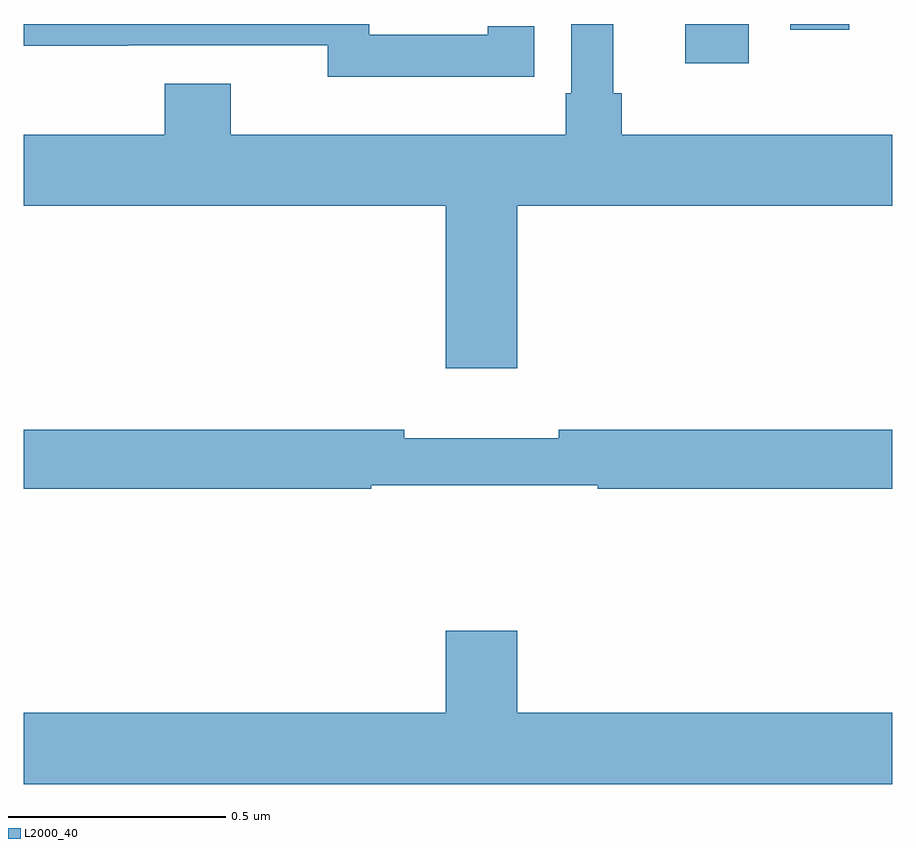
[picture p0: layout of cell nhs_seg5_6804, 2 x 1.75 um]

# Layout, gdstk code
import gdstk
lib = gdstk.Library(unit=1e-6, precision=1e-09)
def R(c, l, rs):  # rectangles x0, y0, x1, y1
    for r in rs: c.add(gdstk.rectangle(r[:2], r[2:], *l))
def P(c, l, *ps):  # polygons
    for p in ps: c.add(gdstk.Polygon(p, *l))
L2000_40 = (2000, 40)

nhs_seg5_6804 = lib.new_cell('nhs_seg5_6804')
R(nhs_seg5_6804, L2000_40, [(201.524,903.708,201.67,903.799), (201.765,903.786,201.901,903.799)])
P(nhs_seg5_6804, L2000_40, [(201.136,903.38),(202,903.38),(202,903.544),(201.377,903.544),(201.377,903.64),(201.358,903.64),(201.358,903.799),(201.261,903.799),(201.261,903.64),(201.248,903.64),(201.248,903.544),(200.476,903.544),(200.476,903.661),(200.324,903.661),(200.324,903.544),(200,903.544),(200,903.38),(200.972,903.38),(200.972,903.006),(201.136,903.006)],
  [(201.068,903.678),(201.176,903.678),(201.176,903.794),(201.068,903.794),(201.068,903.774),(200.796,903.774),(200.796,903.799),(200,903.799),(200,903.749),(200.24,903.749),(200.24,903.75),(200.7,903.75),(200.7,903.677),(201.068,903.677)],
  [(200.8,902.736),(201.322,902.736),(201.322,902.728),(202,902.728),(202,902.864),(201.232,902.864),(201.232,902.845),(200.876,902.845),(200.876,902.864),(200,902.864),(200,902.728),(200.8,902.728)],
  [(202,902.212),(201.136,902.212),(201.136,902.401),(200.972,902.401),(200.972,902.212),(200,902.212),(200,902.048),(202,902.048)])

lib.write_gds('nhs_seg5_6804.gds')
